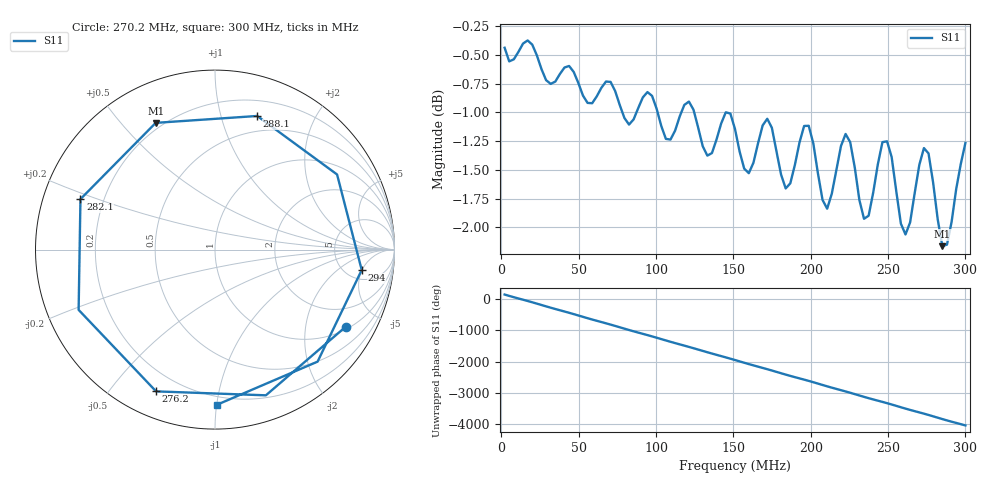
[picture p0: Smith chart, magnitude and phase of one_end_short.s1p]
# Hz S RI R 50
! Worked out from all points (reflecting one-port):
!   101 points, 2.05 MHz to 300 MHz, reference 50 ohm
!   lowest |S11| = -2.2 dB at 285.1 MHz (marker M1), VSWR 8.07, Z = 8.65 + j31.1 ohm
!   phase of S11 starts at 148 deg and turns -4197 deg over the sweep
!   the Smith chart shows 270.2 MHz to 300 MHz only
!   S11 on the Smith chart (normalised r, x): 270.2 MHz: 1.10, -3.33; 276.2 MHz: 0.11, -0.66; 282.1 MHz: 0.11, +0.18; 288.1 MHz: 0.34, +1.31; 294 MHz: 6.89, -4.92; 300 MHz: 0.15, -1.00
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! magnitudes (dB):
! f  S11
! 2.05 MHz  -0.4
! 40.78 MHz  -0.6
! 76.54 MHz  -0.9
! 94.41 MHz  -0.8
! 106.3 MHz  -1.2
! 115.3 MHz  -1.0
! 121.2 MHz  -0.9
! 133.1 MHz  -1.4
! 145.1 MHz  -1.0
! 151 MHz  -1.1
! 160 MHz  -1.5
! 171.9 MHz  -1.1
! 183.8 MHz  -1.7
! 189.8 MHz  -1.5
! 198.7 MHz  -1.1
! 210.6 MHz  -1.8
! 225.5 MHz  -1.3
! 234.5 MHz  -1.9
! 249.3 MHz  -1.3
! 258.3 MHz  -2.0
! 264.2 MHz  -2.0
! 270.2 MHz  -1.5
! 276.2 MHz  -1.4
! 282.1 MHz  -1.9
! 285.1 MHz  -2.2
! 288.1 MHz  -2.1
! 294 MHz  -1.7
! 300 MHz  -1.3
